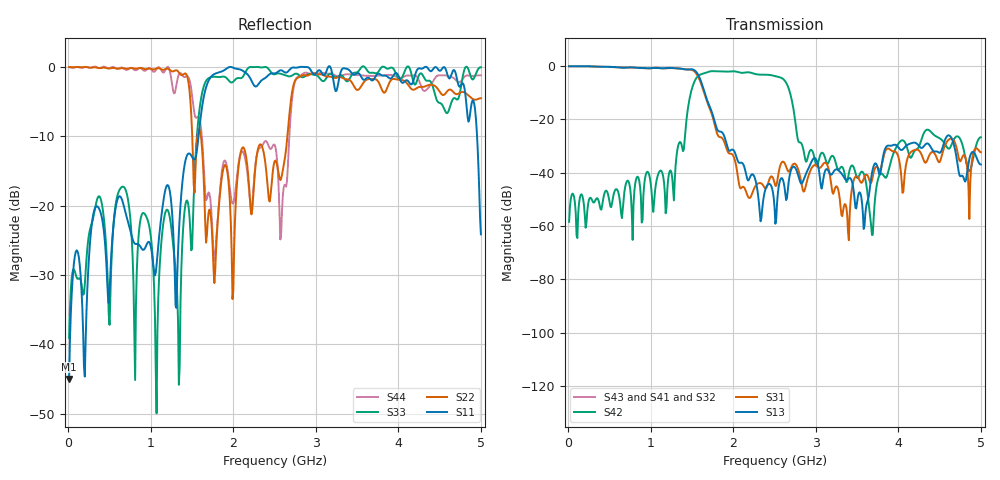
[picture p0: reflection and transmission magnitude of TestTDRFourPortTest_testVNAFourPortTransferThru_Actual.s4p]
! File created by SignalIntegrity v1.1.1: Signal and Power Integrity Tools
! https://github.com/TeledyneLeCroy/SignalIntegrity
# MHz MA S R 50.0
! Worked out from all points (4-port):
!   500 points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, 10 MHz to 5 GHz, reference 50 ohm
!   strongest paths, dB at 10 MHz, 1.26 GHz, 2.51 GHz, 3.76 GHz, 5 GHz:
!     S13: -0.2, -0.8, -59.1, -39.6, -37.0
!     S31: -0.2, -0.9, -45.0, -38.7, -32.4
!     S42: -58.4, -42.1, -3.9, -41.8, -26.8
!     S43: -, -, -, -, -
!     S41: -, -, -, -, -
!     S32: -, -, -, -, -
!   lowest |S11| = -45.0 dB at 10 MHz (marker M1), VSWR 1.01, Z = 49.7 - j0.489 ohm
!   |S11| at or under -10 dB: start of sweep to 1.578 GHz; 4.954 GHz to end of sweep
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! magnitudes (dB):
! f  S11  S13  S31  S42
! 10 MHz  -45.0  -0.2  -0.2  -58.4
! 1.19 GHz  -17.2  -0.8  -0.9  -53.3
! 1.72 GHz  -1.6  -15.8  -16.5  -2.1
! 2.33 GHz  -2.1  -58.3  -44.0  -3.3
! 3.68 GHz  -1.9  -40.2  -42.9  -63.4
! 4.03 GHz  -2.0  -31.5  -39.7  -28.1
! 5 GHz  -24.1  -37.0  -32.4  -26.8
